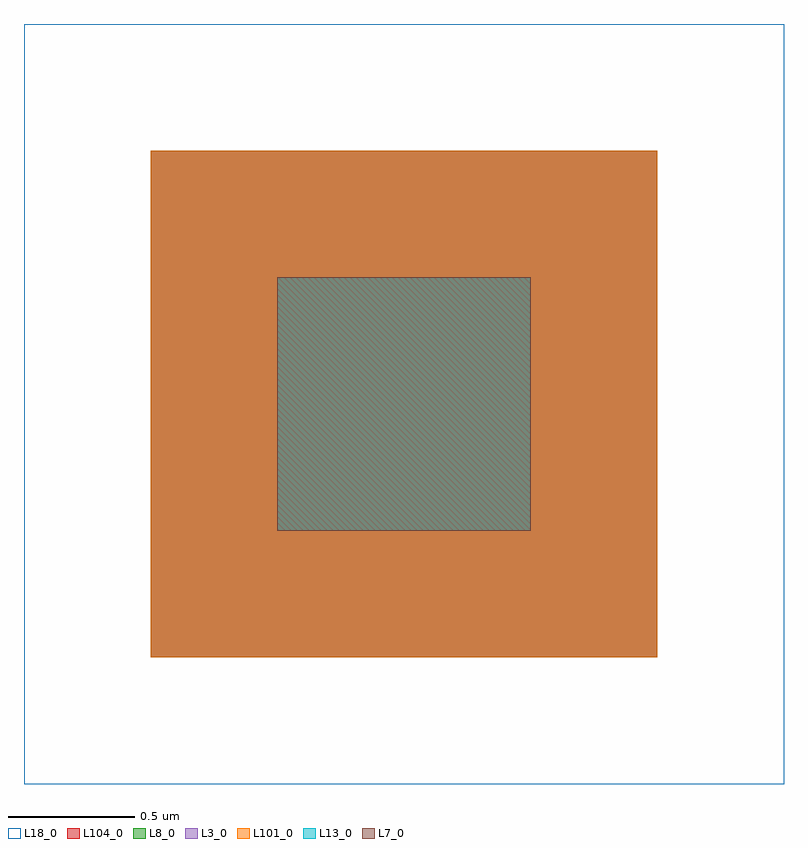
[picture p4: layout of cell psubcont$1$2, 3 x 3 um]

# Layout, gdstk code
import gdstk
lib = gdstk.Library(unit=1e-6, precision=1e-07)
def R(c, l, rs):  # rectangles x0, y0, x1, y1
    for r in rs: c.add(gdstk.rectangle(r[:2], r[2:], *l))
L3_0 = (3, 0)
L7_0 = (7, 0)
L8_0 = (8, 0)
L13_0 = (13, 0)
L18_0 = (18, 0)
L101_0 = (101, 0)
L104_0 = (104, 0)

dcont1_1_1 = lib.new_cell('dcont1$1$1')
R(dcont1_1_1, L3_0, [(-1,-1,1,1)])
R(dcont1_1_1, L7_0, [(-0.5,-0.5,0.5,0.5)])
R(dcont1_1_1, L8_0, [(-1,-1,1,1)])
R(dcont1_1_1, L13_0, [(-0.5,-0.5,0.5,0.5)])
R(dcont1_1_1, L101_0, [(-1,-1,1,1)])

psubcont_1_2 = lib.new_cell('psubcont$1$2')
R(psubcont_1_2, L18_0, [(-1.5,-1.5,1.5,1.5)])
R(psubcont_1_2, L104_0, [(-1,-1,1,1)])
psubcont_1_2.add(gdstk.Reference(dcont1_1_1, (0,0)))

lib.write_gds('psubcont_1_2.gds')
